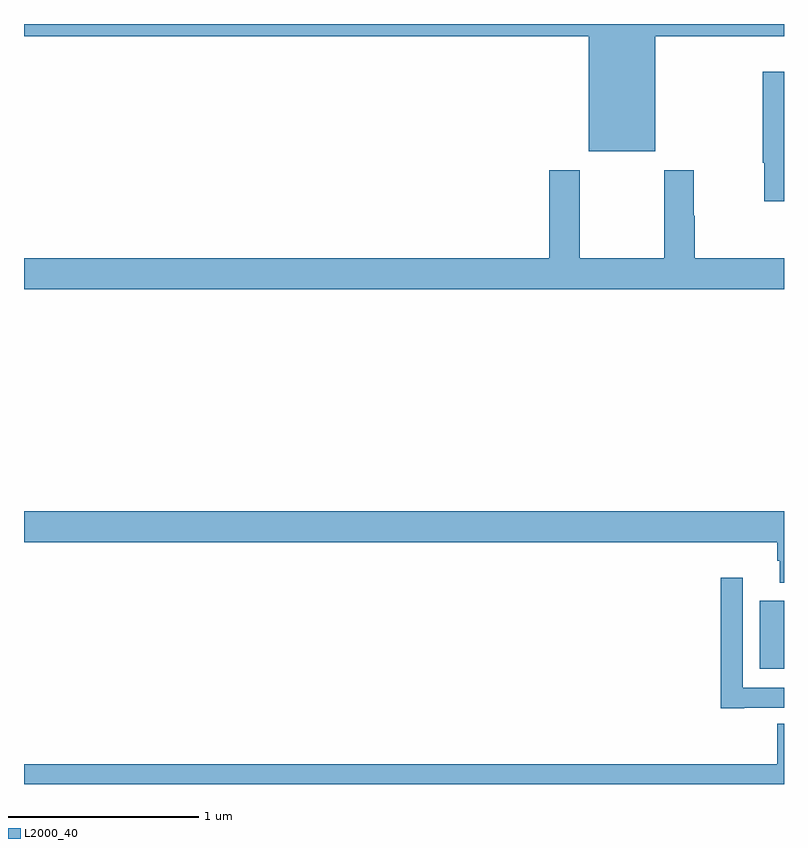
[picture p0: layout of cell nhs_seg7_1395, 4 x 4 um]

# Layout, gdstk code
import gdstk
lib = gdstk.Library(unit=1e-6, precision=1e-09)
def R(c, l, rs):  # rectangles x0, y0, x1, y1
    for r in rs: c.add(gdstk.rectangle(r[:2], r[2:], *l))
def P(c, l, *ps):  # polygons
    for p in ps: c.add(gdstk.Polygon(p, *l))
L2000_40 = (2000, 40)

nhs_seg7_1395 = lib.new_cell('nhs_seg7_1395')
R(nhs_seg7_1395, L2000_40, [(210.872,1010.606,211,1010.965)])
P(nhs_seg7_1395, L2000_40, [(210.322,1013.936),(211,1013.936),(211,1014),(207,1014),(207,1013.936),(209.972,1013.936),(209.972,1013.33),(210.322,1013.33)],
  [(211,1013.749),(210.889,1013.749),(210.889,1013.27),(210.897,1013.27),(210.897,1013.066),(211,1013.066)],
  [(211,1012.768),(210.53,1012.768),(210.53,1012.991),(210.525,1012.991),(210.525,1013.23),(210.37,1013.23),(210.37,1012.768),(209.925,1012.768),(209.925,1013.23),(209.765,1013.23),(209.765,1012.768),(207,1012.768),(207,1012.604),(211,1012.604)],
  [(211,1011.436),(207,1011.436),(207,1011.272),(210.965,1011.272),(210.965,1011.174),(210.977,1011.174),(210.977,1011.06),(211,1011.06)],
  [(210.79,1010.402),(211,1010.402),(211,1010.506),(210.783,1010.506),(210.783,1011.085),(210.667,1011.085),(210.667,1010.4),(210.79,1010.4)],
  [(211,1010.317),(210.965,1010.317),(210.965,1010.104),(207,1010.104),(207,1010),(211,1010)])

lib.write_gds('nhs_seg7_1395.gds')
